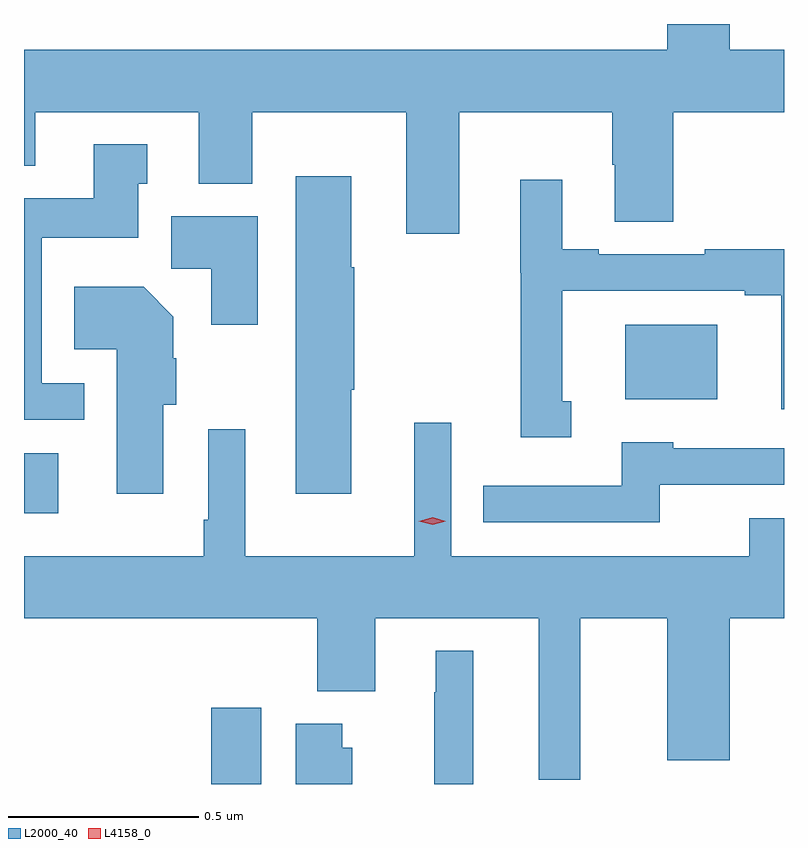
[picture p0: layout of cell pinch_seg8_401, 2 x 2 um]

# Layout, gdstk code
import gdstk
lib = gdstk.Library(unit=1e-6, precision=1e-09)
def R(c, l, rs):  # rectangles x0, y0, x1, y1
    for r in rs: c.add(gdstk.rectangle(r[:2], r[2:], *l))
def P(c, l, *ps):  # polygons
    for p in ps: c.add(gdstk.Polygon(p, *l))
L2000_40 = (2000, 40)
L4158_0 = (4158, 0)

pinch_seg8_401 = lib.new_cell('pinch_seg8_401')
R(pinch_seg8_401, L2000_40, [(583.388,1097.416,583.519,1097.617), (582.895,1098.128,582.985,1098.286), (584.477,1098.428,584.719,1098.625)])
P(pinch_seg8_401, L2000_40, [(584.041,1099.184),(584.443,1099.184),(584.443,1099.046),(584.45,1099.046),(584.45,1098.895),(584.603,1098.895),(584.603,1099.184),(584.895,1099.184),(584.895,1099.348),(584.752,1099.348),(584.752,1099.416),(584.588,1099.416),(584.588,1099.348),(582.895,1099.348),(582.895,1099.043),(582.925,1099.043),(582.925,1099.184),(583.355,1099.184),(583.355,1098.995),(583.495,1098.995),(583.495,1099.184),(583.901,1099.184),(583.901,1098.864),(584.041,1098.864)],
  [(583.054,1098.471),(582.942,1098.471),(582.942,1098.854),(583.195,1098.854),(583.195,1098.996),(583.219,1098.996),(583.219,1099.099),(583.079,1099.099),(583.079,1098.958),(582.895,1098.958),(582.895,1098.375),(583.054,1098.375)],
  [(583.756,1098.454),(583.764,1098.454),(583.764,1098.776),(583.756,1098.776),(583.756,1099.015),(583.61,1099.015),(583.61,1098.18),(583.756,1098.18)],
  [(584.335,1098.423),(584.311,1098.423),(584.311,1098.714),(584.792,1098.714),(584.792,1098.702),(584.888,1098.702),(584.888,1098.402),(584.895,1098.402),(584.895,1098.823),(584.686,1098.823),(584.686,1098.81),(584.407,1098.81),(584.407,1098.823),(584.311,1098.823),(584.311,1099.006),(584.201,1099.006),(584.201,1098.761),(584.202,1098.761),(584.202,1098.329),(584.335,1098.329)],
  [(583.51,1098.91),(583.283,1098.91),(583.283,1098.772),(583.388,1098.772),(583.388,1098.624),(583.51,1098.624)],
  [(583.261,1098.414),(583.296,1098.414),(583.296,1098.536),(583.288,1098.536),(583.288,1098.646),(583.21,1098.724),(583.027,1098.724),(583.027,1098.56),(583.139,1098.56),(583.139,1098.18),(583.261,1098.18)],
  [(583.667,1097.66),(583.819,1097.66),(583.819,1097.852),(584.249,1097.852),(584.249,1097.427),(584.359,1097.427),(584.359,1097.852),(584.588,1097.852),(584.588,1097.478),(584.752,1097.478),(584.752,1097.852),(584.895,1097.852),(584.895,1098.115),(584.804,1098.115),(584.804,1098.016),(584.019,1098.016),(584.019,1098.367),(583.922,1098.367),(583.922,1098.016),(583.477,1098.016),(583.477,1098.349),(583.38,1098.349),(583.38,1098.112),(583.368,1098.112),(583.368,1098.016),(582.895,1098.016),(582.895,1097.852),(583.667,1097.852)],
  [(584.568,1098.204),(584.895,1098.204),(584.895,1098.3),(584.604,1098.3),(584.604,1098.316),(584.468,1098.316),(584.468,1098.201),(584.104,1098.201),(584.104,1098.105),(584.568,1098.105)],
  [(584.077,1097.767),(583.979,1097.767),(583.979,1097.657),(583.975,1097.657),(583.975,1097.416),(584.077,1097.416)],
  [(583.759,1097.511),(583.732,1097.511),(583.732,1097.575),(583.61,1097.575),(583.61,1097.416),(583.759,1097.416)])
P(pinch_seg8_401, L4158_0, [(583.97,1098.098),(583.934,1098.108),(583.934,1098.108),(583.934,1098.108),(583.97,1098.118),(584.005,1098.108),(584.005,1098.108),(584.005,1098.108)])

lib.write_gds('pinch_seg8_401.gds')
